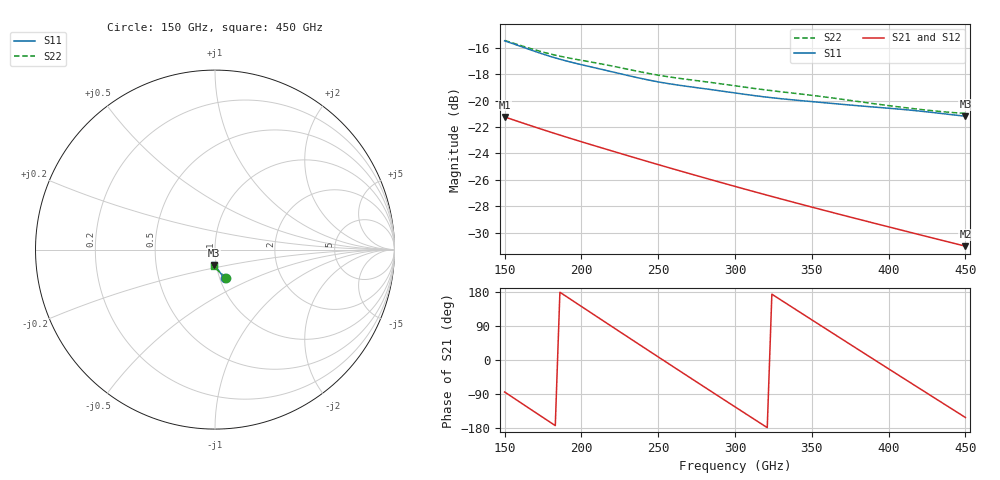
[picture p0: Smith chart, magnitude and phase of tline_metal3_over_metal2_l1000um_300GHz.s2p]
#  GHZ S DB R 50
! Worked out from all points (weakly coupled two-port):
!   101 points, 150 GHz to 450 GHz, reference 50 ohm
!   highest |S21| = -21.24 dB at 150 GHz (marker M1); lowest = -31.0 dB at 450 GHz (marker M2)
!   lowest |S11| = -21.2 dB at 450 GHz (marker M3), VSWR 1.19, Z = 48.5 - j8.49 ohm
!   |S11| at or under -10 dB: start of sweep to end of sweep
!   |S22| runs from -21.0 to -15.4 dB; largest |S21 - S12| = 1.4e-13
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150  -15.48 -71.1  -21.24 -84.4  -21.24 -84.4  -15.45 -69.4
162  -15.96 -72.9  -21.70 -116.7  -21.70 -116.7  -15.89 -70.9
177  -16.56 -74.6  -22.28 -157.1  -22.28 -157.1  -16.39 -72.2
189  -16.96 -75.5  -22.72 170.8  -22.72 170.8  -16.71 -73.0
201  -17.31 -76.5  -23.15 138.6  -23.15 138.6  -16.97 -74.2
213  -17.63 -77.6  -23.57 106.6  -23.57 106.6  -17.23 -75.5
225  -17.96 -78.7  -23.99 74.6  -23.99 74.6  -17.50 -77.0
240  -18.35 -79.8  -24.50 34.7  -24.50 34.7  -17.86 -78.5
252  -18.62 -80.5  -24.91 2.9  -24.91 2.9  -18.11 -79.4
264  -18.84 -81.2  -25.31 -28.9  -25.31 -28.9  -18.32 -80.3
276  -19.04 -82.0  -25.71 -60.5  -25.71 -60.5  -18.50 -81.4
288  -19.22 -83.0  -26.10 -92.1  -26.10 -92.1  -18.68 -82.6
300  -19.42 -84.0  -26.49 -123.6  -26.49 -123.6  -18.88 -83.8
312  -19.61 -84.8  -26.88 -155.0  -26.88 -155.0  -19.07 -84.9
324  -19.78 -85.6  -27.26 173.7  -27.26 173.7  -19.25 -85.9
339  -19.96 -86.6  -27.72 134.6  -27.72 134.6  -19.45 -87.2
351  -20.09 -87.5  -28.09 103.4  -28.09 103.4  -19.61 -88.3
363  -20.21 -88.4  -28.45 72.3  -28.45 72.3  -19.79 -89.4
378  -20.37 -89.6  -28.90 33.5  -28.90 33.5  -20.03 -90.5
402  -20.60 -91.6  -29.61 -28.4  -29.61 -28.4  -20.41 -91.8
426  -20.87 -93.7  -30.32 -90.2  -30.32 -90.2  -20.74 -92.5
450  -21.18 -95.2  -31.02 -151.6  -31.02 -151.6  -20.96 -92.5
